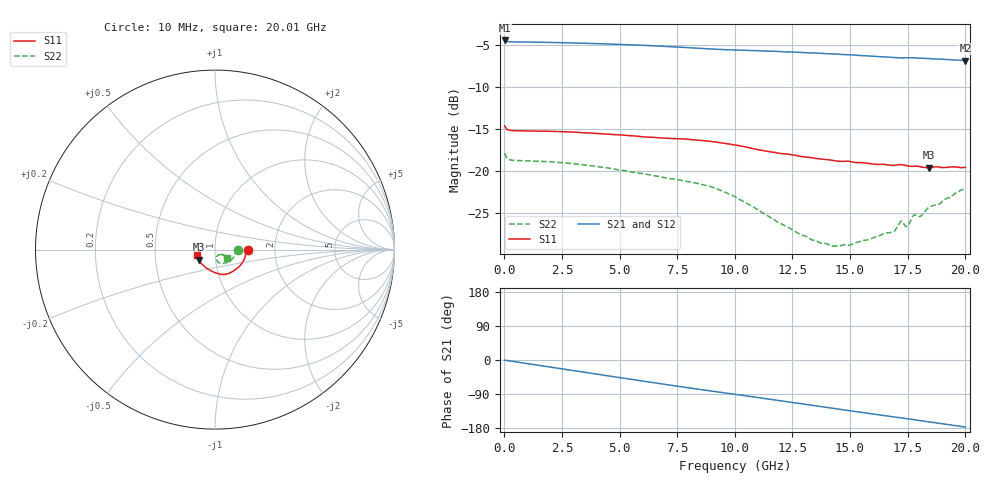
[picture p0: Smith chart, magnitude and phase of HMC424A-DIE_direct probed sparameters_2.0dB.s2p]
!s2p File: Measurements: S11, S21, S12, S22
# GHz S dB R 50.0
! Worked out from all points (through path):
!   201 points, 10 MHz to 20.01 GHz, reference 50 ohm
!   highest |S21| = -4.41 dB at 10 MHz (marker M1); lowest = -6.8 dB at 20.01 GHz (marker M2)
!   group delay of S21, straight-line fit = 24.4 ps
!   lowest |S11| = -19.6 dB at 18.41 GHz (marker M3), VSWR 1.23, Z = 41.7 - j4.76 ohm
!   |S11| at or under -10 dB: start of sweep to end of sweep
!   |S22| runs from -29.0 to -17.9 dB; largest |S21 - S12| = 0.0033
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0.01  -14.60 -1.3  -4.41 -0.4  -4.41 -0.5  -17.86 -1.9
0.11  -15.03 -2.3  -4.53 -1.4  -4.53 -1.4  -18.51 -3.1
0.31  -15.16 -3.1  -4.57 -3.2  -4.57 -3.2  -18.70 -3.9
1.81  -15.25 -13.0  -4.64 -17.1  -4.63 -17.1  -18.86 -15.8
3.41  -15.43 -24.4  -4.74 -31.9  -4.74 -31.9  -19.25 -29.2
5.21  -15.73 -37.4  -4.90 -48.3  -4.90 -48.3  -19.95 -43.2
6.71  -16.04 -47.9  -5.08 -62.0  -5.08 -62.0  -20.66 -53.5
8.81  -16.42 -64.7  -5.41 -80.4  -5.41 -80.4  -21.76 -68.4
10.01  -16.89 -75.3  -5.55 -90.5  -5.55 -90.5  -23.08 -77.3
11.71  -17.78 -88.8  -5.70 -105.2  -5.72 -105.1  -25.80 -81.6
13.41  -18.44 -101.8  -5.90 -120.1  -5.92 -120.0  -28.27 -72.1
14.21  -18.72 -108.6  -6.01 -127.1  -6.03 -126.9  -28.97 -64.3
15.01  -18.88 -115.2  -6.12 -134.1  -6.14 -133.9  -28.86 -54.3
16.71  -19.29 -131.2  -6.41 -148.5  -6.40 -148.4  -27.40 -41.0
16.91  -19.34 -132.7  -6.46 -150.2  -6.41 -150.1  -27.26 -37.5
17.21  -19.24 -135.7  -6.50 -152.5  -6.46 -152.6  -25.98 -37.5
17.51  -19.38 -139.0  -6.48 -155.0  -6.50 -155.2  -26.60 -34.5
17.71  -19.45 -140.3  -6.47 -156.8  -6.51 -156.9  -25.43 -32.7
18.11  -19.54 -144.3  -6.54 -160.5  -6.57 -160.3  -25.33 -32.2
18.41  -19.61 -147.3  -6.57 -163.1  -6.59 -162.9  -24.36 -32.1
18.91  -19.55 -152.5  -6.65 -167.5  -6.65 -167.2  -23.90 -31.9
20.01  -19.57 -162.3  -6.81 -177.0  -6.79 -176.9  -21.98 -34.7
